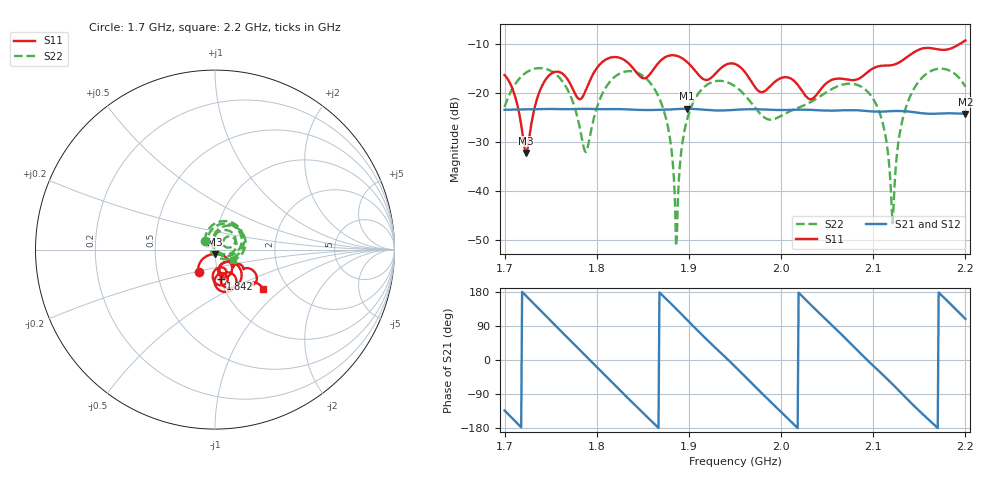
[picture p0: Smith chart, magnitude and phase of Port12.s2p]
# Hz S RI R 50
! CMT, CMT808U, 21440046, 21.4.3/4
! Date: 12/13/2025 10:53:40 PM
! Data: Format (Calibration Info)
! Freq	S11:Re/Im(F2)	S41:Re/Im(F2)	S14:Re/Im(F2)	S44:Re/Im(F2)
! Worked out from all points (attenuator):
!   501 points, 1.7 GHz to 2.2 GHz, reference 50 ohm
!   highest |S21| = -23.14 dB at 1.898 GHz (marker M1); lowest = -24.2 dB at 2.2 GHz (marker M2)
!   lowest |S11| = -32.2 dB at 1.723 GHz (marker M3), VSWR 1.05, Z = 49.7 - j2.43 ohm
!   |S11| at or under -10 dB: start of sweep to 2.193 GHz
!   |S22| runs from -51.2 to -14.8 dB; largest |S21 - S12| = 0.00038
!   S11 on the Smith chart (normalised r, x): 1.7 GHz: 0.81, -0.21; 1.842 GHz: 1.01, -0.34; 2.2 GHz: 1.51, -0.76
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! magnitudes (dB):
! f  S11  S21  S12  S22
! 1.7 GHz  -16.3  -23.4  -23.4  -22.8
! 1.723 GHz  -32.2  -23.3  -23.3  -15.8
! 1.749 GHz  -16.2  -23.2  -23.2  -15.3
! 1.784 GHz  -20.9  -23.2  -23.2  -29.4
! 1.789 GHz  -18.9  -23.2  -23.2  -31.7
! 1.811 GHz  -13.0  -23.2  -23.2  -18.4
! 1.842 GHz  -15.5  -23.3  -23.4  -15.6
! 1.867 GHz  -13.8  -23.4  -23.4  -20.6
! 1.879 GHz  -12.3  -23.3  -23.3  -28.7
! 1.886 GHz  -12.3  -23.2  -23.2  -51.2
! 1.898 GHz  -13.6  -23.1  -23.2  -25.3
! 1.919 GHz  -17.3  -23.4  -23.4  -18.3
! 1.95 GHz  -14.0  -23.4  -23.4  -18.5
! 1.987 GHz  -18.7  -23.3  -23.3  -25.3
! 2.034 GHz  -21.1  -23.4  -23.4  -21.6
! 2.091 GHz  -16.1  -23.6  -23.6  -19.2
! 2.108 GHz  -14.4  -23.7  -23.8  -24.6
! 2.117 GHz  -14.3  -23.7  -23.7  -34.0
! 2.121 GHz  -14.2  -23.6  -23.6  -46.6
! 2.132 GHz  -13.2  -23.6  -23.6  -25.2
! 2.153 GHz  -10.8  -24.1  -24.1  -16.8
! 2.2 GHz  -9.2  -24.2  -24.2  -18.6
